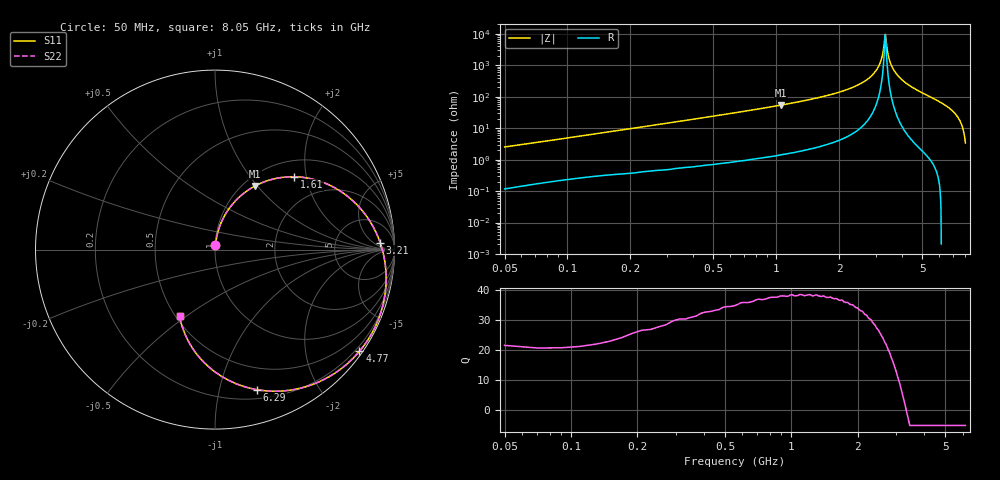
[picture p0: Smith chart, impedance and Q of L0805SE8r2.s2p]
! AVX Thin Film Operation		Date: May 2002
! Description: Accu-L® Series, Thin Film, SMD, RF Inductors
! Part Number: L08058R2CEWTR
! 50 MHz  -  8.05 GHz
! Serial Measurements
# mhz S db R 50
!	S11		S21		S12		S22
!	dB	Phase	dB	Phase	dB	Phase	dB	Phase
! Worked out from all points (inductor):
!   401 points, 50 MHz to 8.05 GHz, reference 50 ohm
!   read as 1/Y11, port 2 shorted: L = 7.72 nH near 90 MHz
!   highest Q = 38.3 at 1.05 GHz (marker M1), where L = 8.18 nH
!   self-resonance near 3.31 GHz
!   S11 on the Smith chart (normalised r, x): 50 MHz: 1.00, +0.05; 1.61 GHz: 1.34, +1.70; 3.21 GHz: 19, +10; 4.77 GHz: 0.09, -3.16; 6.29 GHz: 0.28, -1.30; 8.05 GHz: 0.53, -0.47
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50  -32.76 85.1  -0.01 -1.6  -0.01 -1.6  -32.76 85.1
170  -22.63 82.3  -0.05 -5.1  -0.05 -5.1  -22.63 82.3
350  -16.55 77.5  -0.14 -10.4  -0.14 -10.4  -16.55 77.5
630  -11.65 69.7  -0.37 -18.4  -0.37 -18.4  -11.65 69.7
1050  -7.57 57.9  -0.93 -30.2  -0.93 -30.2  -7.57 57.9
1390  -5.48 48.6  -1.56 -39.4  -1.56 -39.4  -5.48 48.6
1610  -4.45 42.6  -2.06 -45.2  -2.06 -45.2  -4.45 42.6
2730  -1.38 14.1  -5.99 -72.8  -5.99 -72.8  -1.38 14.1
3210  -0.71 2.4  -8.78 -83.9  -8.78 -83.9  -0.71 2.4
3710  -0.29 -9.6  -13.35 -94.6  -13.35 -94.6  -0.29 -9.6
4050  -0.14 -17.7  -19.07 -100.2  -19.07 -100.2  -0.14 -17.7
4230  -0.10 -22.0  -25.00 -99.2  -25.00 -99.2  -0.10 -22.0
4310  -0.09 -24.0  -29.80 -90.4  -29.80 -90.4  -0.09 -24.0
4370  -0.08 -25.4  -35.40 -56.8  -35.40 -56.8  -0.08 -25.4
4410  -0.08 -26.4  -38.90 -31.3  -38.90 -31.3  -0.08 -26.4
4590  -0.09 -30.8  -24.86 53.1  -24.86 53.1  -0.09 -30.8
4770  -0.14 -35.1  -18.94 53.6  -18.94 53.6  -0.14 -35.1
5030  -0.25 -41.5  -14.26 49.3  -14.26 49.3  -0.25 -41.5
5390  -0.51 -50.5  -10.34 41.7  -10.34 41.7  -0.51 -50.5
6290  -1.78 -73.3  -5.01 20.5  -5.01 20.5  -1.78 -73.3
6730  -2.77 -84.6  -3.48 10.0  -3.48 10.0  -2.77 -84.6
8050  -7.56 -118.1  -0.97 -20.3  -0.97 -20.3  -7.56 -118.1
